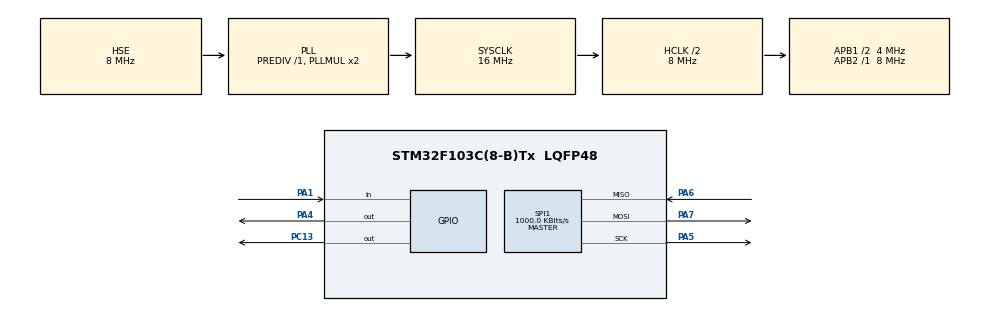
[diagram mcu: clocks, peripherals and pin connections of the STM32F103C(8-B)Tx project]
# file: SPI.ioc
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Mcu.Family=STM32F1
Mcu.Name=STM32F103C(8-B)Tx
Mcu.Package=LQFP48
NVIC.PriorityGroup=NVIC_PRIORITYGROUP_4
PA1.GPIO_PuPd=GPIO_PULLUP
PA1.Signal=GPIO_Input
PA13.Mode=Serial_Wire
PA13.Signal=SYS_JTMS-SWDIO
PA14.Mode=Serial_Wire
PA14.Signal=SYS_JTCK-SWCLK
PA4.GPIO_PuPd=GPIO_NOPULL
PA4.GPIO_Speed=GPIO_SPEED_FREQ_LOW
PA4.PinState=GPIO_PIN_SET
PA4.Signal=GPIO_Output
PA5.Mode=Full_Duplex_Master
PA5.Signal=SPI1_SCK
PA6.Mode=Full_Duplex_Master
PA6.Signal=SPI1_MISO
PA7.Mode=Full_Duplex_Master
PA7.Signal=SPI1_MOSI
PC13-TAMPER-RTC.GPIO_ModeDefaultOutputPP=GPIO_MODE_OUTPUT_OD
PC13-TAMPER-RTC.GPIO_PuPd=GPIO_PULLUP
PC13-TAMPER-RTC.PinState=GPIO_PIN_SET
PC13-TAMPER-RTC.Signal=GPIO_Output
PD0-OSC_IN.Mode=HSE-External-Oscillator
PD0-OSC_IN.Signal=RCC_OSC_IN
PD1-OSC_OUT.Mode=HSE-External-Oscillator
PD1-OSC_OUT.Signal=RCC_OSC_OUT
ProjectManager.HeapSize=0x200
ProjectManager.StackSize=0x400
ProjectManager.TargetToolchain=MDK-ARM V5.32
RCC.AHBCLKDivider=RCC_SYSCLK_DIV2
RCC.AHBFreq_Value=8000000
RCC.APB1CLKDivider=RCC_HCLK_DIV2
RCC.APB1Freq_Value=4000000
RCC.APB1TimFreq_Value=8000000
RCC.APB2Freq_Value=8000000
RCC.APB2TimFreq_Value=8000000
RCC.HCLKFreq_Value=8000000
RCC.PLLSourceVirtual=RCC_PLLSOURCE_HSE
RCC.SYSCLKFreq_VALUE=16000000
RCC.SYSCLKSource=RCC_SYSCLKSOURCE_PLLCLK
RCC.USBFreq_Value=16000000
SPI1.BaudRatePrescaler=SPI_BAUDRATEPRESCALER_8
SPI1.CalculateBaudRate=1000.0 KBits/s
SPI1.Direction=SPI_DIRECTION_2LINES
SPI1.Mode=SPI_MODE_MASTER
SPI1.VirtualType=VM_MASTER
board=custom

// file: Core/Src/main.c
/* USER CODE BEGIN Header */
/**
  ******************************************************************************
  * @file           : main.c
  * @brief          : Main program body
  ******************************************************************************
  * @attention
  *
  * Copyright (c) 2025 STMicroelectronics.
  * All rights reserved.
  *
  * This software is licensed under terms that can be found in the LICENSE file
  * in the root directory of this software component.
  * If no LICENSE file comes with this software, it is provided AS-IS.
  *
  ******************************************************************************
  */
/* USER CODE END Header */
#include "main.h"
#include "spi.h"
#include "gpio.h"

/* USER CODE BEGIN PV */
uint8_t data[4] = {0x20, 0x00, 0x00, 0x00};
uint8_t ata[5];
static uint8_t state = 0;
uint8_t ledstate = 0;

/* USER CODE END PV */

void SystemClock_Config(void);
/* USER CODE BEGIN PFP */
void spi_enable(void);
uint8_t anjian(void);
void spi_bian(void);
void load_ledstate(void);
static uint8_t Load_ledState(void);
/* USER CODE END PFP */

/* USER CODE BEGIN 0 */
static uint8_t Load_ledState(void)
{
	uint8_t readDataCmd[] = {0x03, 0x00, 0x00, 0x00};
	uint8_t ledState = 0xff;

	HAL_GPIO_WritePin(GPIOA, GPIO_PIN_4, GPIO_PIN_RESET);

	HAL_SPI_Transmit(&hspi1, readDataCmd, 4, HAL_MAX_DELAY);

	HAL_SPI_Receive(&hspi1, &ledState, 1, HAL_MAX_DELAY);

	HAL_GPIO_WritePin(GPIOA, GPIO_PIN_4, GPIO_PIN_SET);

	return ledState;
}

uint8_t anjian(void)
{
  static uint8_t pre = 1;
  static uint8_t last = 1;
  static uint32_t time = 0;
  pre = last;
  uint16_t count = HAL_GetTick();

  last = HAL_GPIO_ReadPin(GPIOA, GPIO_PIN_1);
  if(last == GPIO_PIN_RESET && pre == GPIO_PIN_SET){
    if((count - time) > 20){//消抖不理解为什么这个可以消抖
      time = count;
      state = 1;
    }else{
      state = 0;
    }
  }

  return state;
}

void bian(void){
  ata[0] = 0x20;
  ata[1] = ata[2] = ata[3] = 0x00;
  ata[4] = ledstate;
  HAL_GPIO_WritePin(GPIOC, GPIO_PIN_4, GPIO_PIN_RESET);
  HAL_SPI_Transmit(&hspi1, ata, 5, HAL_MAX_DELAY);
  HAL_GPIO_WritePin(GPIOA, GPIO_PIN_4, GPIO_PIN_SET);
}

void spi_enable(void){
  HAL_GPIO_WritePin(GPIOA, GPIO_PIN_4, GPIO_PIN_RESET);
  HAL_SPI_Transmit(&hspi1, (uint8_t *)0x06, 1, HAL_MAX_DELAY);
  HAL_GPIO_WritePin(GPIOA, GPIO_PIN_4, GPIO_PIN_SET);
}

void spi_delete(void){
  HAL_GPIO_WritePin(GPIOA, GPIO_PIN_4, GPIO_PIN_RESET);
  HAL_SPI_Transmit(&hspi1, data, 4, HAL_MAX_DELAY);
  HAL_GPIO_WritePin(GPIOA, GPIO_PIN_4, GPIO_PIN_SET);
}
/* USER CODE END 0 */

int main(void)
{

  /* MCU Configuration--------------------------------------------------------*/

  /* Reset of all peripherals, Initializes the Flash interface and the Systick. */
  HAL_Init();

  /* Configure the system clock */
  SystemClock_Config();

  /* Initialize all configured peripherals */
  MX_GPIO_Init();
  MX_SPI1_Init();

  /* Infinite loop */
  /* USER CODE BEGIN WHILE */

  uint8_t ledState = 0;

  ledState = Load_ledState();

  if(ledState == 1)
  {
		HAL_GPIO_WritePin(GPIOC, GPIO_PIN_13, GPIO_PIN_RESET);
	}
	else
	{
		HAL_GPIO_WritePin(GPIOC, GPIO_PIN_13, GPIO_PIN_SET);
	}

  while (1)
  {
    anjian();
    if(state == 1)
    {
      if(ledstate == 1){
        HAL_GPIO_WritePin(GPIOC, GPIO_PIN_13, GPIO_PIN_RESET);
        ledState = 0;
      }else{
        HAL_GPIO_WritePin(GPIOC, GPIO_PIN_13, GPIO_PIN_SET);
        ledState = 1;
      }
    }
    spi_enable();
    spi_delete();
    HAL_Delay(100);
    spi_enable();
    bian();
    HAL_Delay(10);
    /* USER CODE END WHILE */

  }
}

void SystemClock_Config(void)
{
  RCC_OscInitTypeDef RCC_OscInitStruct = {0};
  RCC_ClkInitTypeDef RCC_ClkInitStruct = {0};

  /** Initializes the RCC Oscillators according to the specified parameters
  * in the RCC_OscInitTypeDef structure.
  */
  RCC_OscInitStruct.OscillatorType = RCC_OSCILLATORTYPE_HSE;
  RCC_OscInitStruct.HSEState = RCC_HSE_ON;
  RCC_OscInitStruct.HSEPredivValue = RCC_HSE_PREDIV_DIV1;
  RCC_OscInitStruct.HSIState = RCC_HSI_ON;
  RCC_OscInitStruct.PLL.PLLState = RCC_PLL_ON;
  RCC_OscInitStruct.PLL.PLLSource = RCC_PLLSOURCE_HSE;
  RCC_OscInitStruct.PLL.PLLMUL = RCC_PLL_MUL2;
  if (HAL_RCC_OscConfig(&RCC_OscInitStruct) != HAL_OK)
  {
    Error_Handler();
  }

  /** Initializes the CPU, AHB and APB buses clocks
  */
  RCC_ClkInitStruct.ClockType = RCC_CLOCKTYPE_HCLK|RCC_CLOCKTYPE_SYSCLK
                              |RCC_CLOCKTYPE_PCLK1|RCC_CLOCKTYPE_PCLK2;
  RCC_ClkInitStruct.SYSCLKSource = RCC_SYSCLKSOURCE_PLLCLK;
  RCC_ClkInitStruct.AHBCLKDivider = RCC_SYSCLK_DIV2;
  RCC_ClkInitStruct.APB1CLKDivider = RCC_HCLK_DIV2;
  RCC_ClkInitStruct.APB2CLKDivider = RCC_HCLK_DIV1;

  if (HAL_RCC_ClockConfig(&RCC_ClkInitStruct, FLASH_LATENCY_0) != HAL_OK)
  {
    Error_Handler();
  }
}

void Error_Handler(void)
{
  __disable_irq();
  while (1)
  {
  }
}
